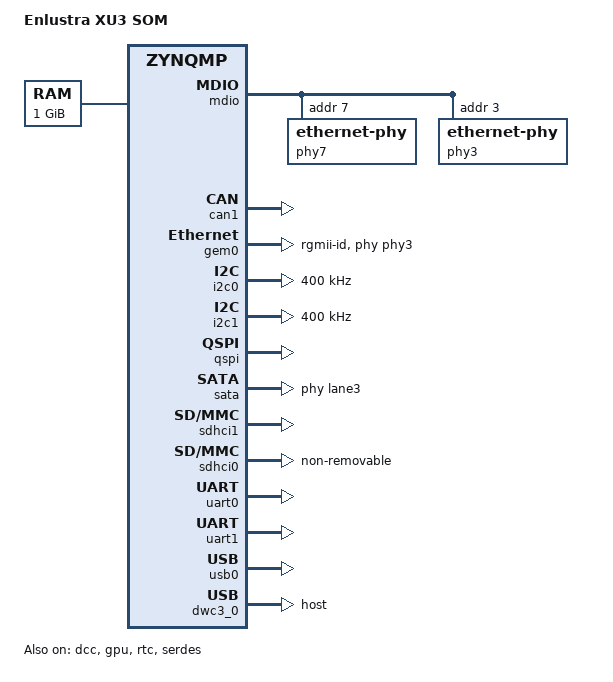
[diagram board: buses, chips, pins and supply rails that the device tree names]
/*
 * dts file for Enclustra XU1 SOM
 *
 * (C) Copyright 2015, Xilinx, Inc.
 * (C) Copyright 2016, Antmicro Ltd
 *
 * This program is free software; you can redistribute it and/or
 * modify it under the terms of the GNU General Public License as
 * published by the Free Software Foundation; either version 2 of
 * the License, or (at your option) any later version.
 */

/dts-v1/;

#include "zynqmp.dtsi"
#include "zynqmp-clk.dtsi"
#include "zynq-enclustra-qspi64-parts.dtsi"
#include <dt-bindings/gpio/gpio.h>
#include <dt-bindings/phy/phy.h>

/ {
	model = "Enlustra XU3 SOM";
	compatible = "xlnx,zynqmp";

	aliases {
		ethernet0 = &gem0;
		gpio0 = &gpio;
		i2c0 = &i2c0;
		i2c1 = &i2c1;
		mmc0 = &sdhci1;
		mmc1 = &sdhci0;
		rtc0 = &rtc;
		serial0 = &uart0;
		serial1 = &uart1;
		serial2 = &dcc;
		spi0 = &qspi;
		usb0 = &usb0;
	};

	chosen {
		bootargs = "earlycon";
		stdout-path = "serial0:115200n8";
	};

	memory {
		device_type = "memory";
		reg = <0x0 0x0 0x0 0x40000000>;
	};

	mdio {
		compatible = "cdns,macb-mdio";
		reg = <0x0 0xff0b0000 0x0 0x1000>;
		clocks = <&clk125>, <&clk125>, <&clk125>;
		clock-names = "pclk", "hclk", "tx_clk";
		#address-cells = <1>;
		#size-cells = <0>;
		phy7: ethernet-phy@7 {
			reg = <7>;
		};
		phy3: ethernet-phy@3 {
			reg = <3>;
		};
	};
};

&can1 {
	status = "okay";
};

&dcc {
	status = "okay";
};

/* fpd_dma clk 667MHz, lpd_dma 500MHz */
&fpd_dma_chan1 {
	status = "okay";
	xlnx,include-sg; /* for testing purpose */
	xlnx,overfetch; /* for testing purpose */
	xlnx,ratectrl = <0>; /* for testing purpose */
	xlnx,src-issue = <31>;
};

&fpd_dma_chan2 {
	status = "okay";
	xlnx,ratectrl = <100>; /* for testing purpose */
	xlnx,src-issue = <4>; /* for testing purpose */
};

&fpd_dma_chan3 {
	status = "okay";
};

&fpd_dma_chan4 {
	status = "okay";
	xlnx,include-sg; /* for testing purpose */
};

&fpd_dma_chan5 {
	status = "okay";
};

&fpd_dma_chan6 {
	status = "okay";
	xlnx,include-sg; /* for testing purpose */
};

&fpd_dma_chan7 {
	status = "okay";
};

&fpd_dma_chan8 {
	status = "okay";
	xlnx,include-sg; /* for testing purpose */
};

&gem0 {
	status = "okay";
	local-mac-address = [00 0a 35 00 02 90];
	phy-mode = "rgmii-id";
	phy-handle = <&phy3>;
};

&gpio {
	status = "okay";
};

&gpu {
	status = "okay";
};

&i2c0 {
	status = "okay";
	clock-frequency = <400000>;
};

&i2c1 {
	status = "okay";
	clock-frequency = <400000>;
};

&pcie {
/*	status = "okay"; */
};

&qspi {
	status = "okay";
	is-dual = <0>;
};

&rtc {
	status = "okay";
};

&sata {
	status = "okay";
	/* SATA OOB timing settings */
	ceva,p0-cominit-params = /bits/ 8 <0x18 0x40 0x18 0x28>;
	ceva,p0-comwake-params = /bits/ 8 <0x06 0x14 0x08 0x0E>;
	ceva,p0-burst-params = /bits/ 8 <0x13 0x08 0x4A 0x06>;
	ceva,p0-retry-params = /bits/ 16 <0x96A4 0x3FFC>;
	ceva,p1-cominit-params = /bits/ 8 <0x18 0x40 0x18 0x28>;
	ceva,p1-comwake-params = /bits/ 8 <0x06 0x14 0x08 0x0E>;
	ceva,p1-burst-params = /bits/ 8 <0x13 0x08 0x4A 0x06>;
	ceva,p1-retry-params = /bits/ 16 <0x96A4 0x3FFC>;
	phy-names = "sata-phy";
	phys = <&lane3 PHY_TYPE_SATA 1 1 125000000>;
};

/* SD1 with level shifter */
&sdhci1 {
	status = "okay";
	no-1-8-v;	/* for 1.0 silicon */
	wp-inverted;
	xlnx,mio_bank = <1>;
};

&sdhci0 {
	status = "okay";
	no-1-8-v;	/* for 1.0 silicon */
	non-removable;
	disable-wp;
	xlnx,mio_bank = <0>;
};

&serdes {
	status = "okay";
};

&uart0 {
	status = "okay";
};

&uart1 {
	status = "okay";
};

/* ULPI SMSC USB3320 */
&usb0 {
	status = "okay";
};

&dwc3_0 {
	status = "okay";
	dr_mode = "host";
};

